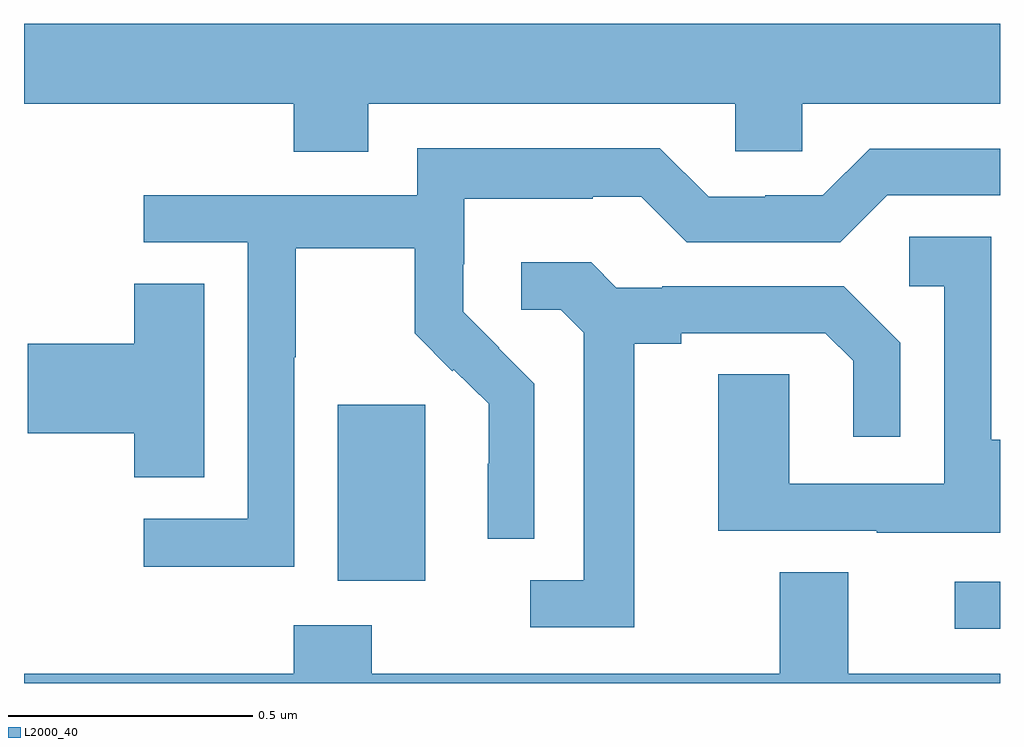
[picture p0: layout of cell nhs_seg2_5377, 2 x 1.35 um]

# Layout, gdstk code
import gdstk
lib = gdstk.Library(unit=1e-6, precision=1e-09)
def R(c, l, rs):  # rectangles x0, y0, x1, y1
    for r in rs: c.add(gdstk.rectangle(r[:2], r[2:], *l))
def P(c, l, *ps):  # polygons
    for p in ps: c.add(gdstk.Polygon(p, *l))
L2000_40 = (2000, 40)

nhs_seg2_5377 = lib.new_cell('nhs_seg2_5377')
R(nhs_seg2_5377, L2000_40, [(179.907,627.912,180,628.008), (178.643,628.01,178.822,628.371)])
P(nhs_seg2_5377, L2000_40, [(178.705,628.988),(179.457,628.988),(179.457,628.89),(179.595,628.89),(179.595,628.988),(180,628.988),(180,629.152),(178,629.152),(178,628.988),(178.553,628.988),(178.553,628.889),(178.705,628.889)],
  [(178.554,628.468),(178.557,628.468),(178.557,628.692),(178.801,628.692),(178.801,628.517),(178.878,628.44),(178.881,628.443),(178.952,628.373),(178.952,628.25),(178.95,628.25),(178.95,628.096),(179.046,628.096),(179.046,628.414),(178.973,628.487),(178.974,628.488),(178.9,628.562),(178.9,628.659),(178.902,628.659),(178.902,628.793),(179.165,628.793),(179.165,628.797),(179.265,628.797),(179.358,628.704),(179.673,628.704),(179.769,628.8),(180,628.8),(180,628.896),(179.733,628.896),(179.637,628.8),(179.519,628.8),(179.519,628.797),(179.403,628.797),(179.303,628.897),(178.806,628.897),(178.806,628.8),(178.245,628.8),(178.245,628.704),(178.458,628.704),(178.458,628.137),(178.245,628.137),(178.245,628.039),(178.554,628.039)],
  [(180,628.299),(179.982,628.299),(179.982,628.715),(179.814,628.715),(179.814,628.614),(179.886,628.614),(179.886,628.209),(179.568,628.209),(179.568,628.433),(179.423,628.433),(179.423,628.113),(179.747,628.113),(179.747,628.109),(180,628.109)],
  [(179.251,628.496),(179.347,628.496),(179.347,628.518),(179.642,628.518),(179.699,628.461),(179.699,628.305),(179.796,628.305),(179.796,628.498),(179.68,628.614),(179.308,628.614),(179.308,628.611),(179.214,628.611),(179.162,628.663),(179.019,628.663),(179.019,628.566),(179.1,628.566),(179.147,628.519),(179.147,628.011),(179.037,628.011),(179.037,627.915),(179.251,627.915)],
  [(178.369,628.619),(178.226,628.619),(178.226,628.496),(178.008,628.496),(178.008,628.313),(178.226,628.313),(178.226,628.222),(178.369,628.222)],
  [(180,627.82),(179.689,627.82),(179.689,628.028),(179.549,628.028),(179.549,627.82),(178.713,627.82),(178.713,627.919),(178.553,627.919),(178.553,627.82),(178,627.82),(178,627.8),(180,627.8)])

lib.write_gds('nhs_seg2_5377.gds')
